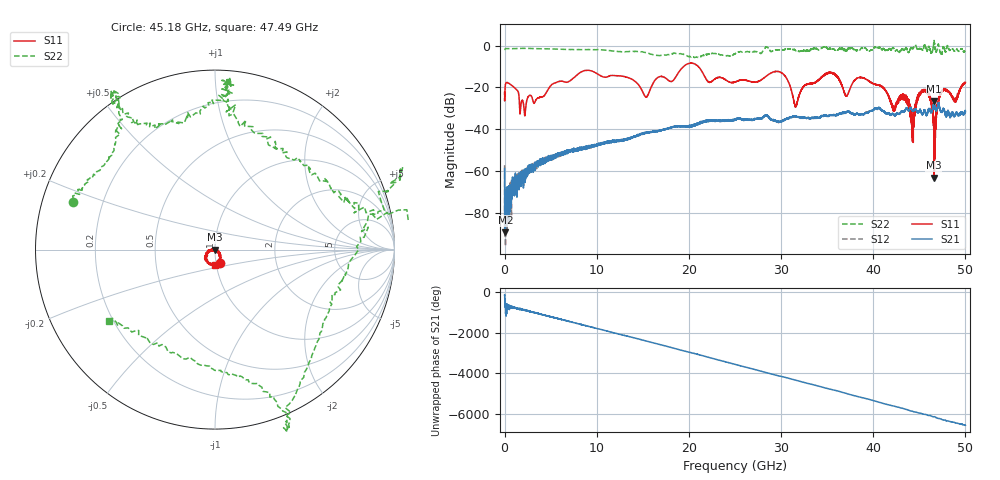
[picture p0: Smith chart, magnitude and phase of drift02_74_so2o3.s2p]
!Created with skrf (http://scikit-rf.org).
# Hz S RI R 50.0
!freq ReS11 ImS11 ReS21 ImS21 ReS12 ImS12 ReS22 ImS22
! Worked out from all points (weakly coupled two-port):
!   10001 points, 300 kHz to 50 GHz, reference 50 ohm
!   highest |S21| = -26.67 dB at 46.61 GHz (marker M1); lowest = -89.0 dB at 90.3 MHz (marker M2)
!   lowest |S11| = -63.0 dB at 46.58 GHz (marker M3), VSWR 1.00, Z = 50 - j0.0611 ohm
!   |S11| at or under -10 dB: start of sweep to 19.42 GHz; 21.01126 GHz to 21.02015 GHz (8.895 MHz wide, 0.0423 % of centre); 21.02 GHz to end of sweep
!   |S22| runs from -5.7 to 2.4 dB; largest |S21 - S12| = 0.003
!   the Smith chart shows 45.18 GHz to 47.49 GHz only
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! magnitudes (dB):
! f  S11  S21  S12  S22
! 300 kHz  -22.3  -58.7  -57.1  -2.1
! 90.3 MHz  -18.5  -89.0  -74.8  -1.5
! 2.185 GHz  -33.6  -62.3  -62.0  -1.3
! 8.335 GHz  -12.5  -48.9  -49.7  -1.9
! 15.34 GHz  -24.5  -41.7  -41.6  -3.3
! 16.67 GHz  -15.1  -40.6  -40.7  -4.7
! 20.3 GHz  -8.4  -38.5  -38.0  -5.5
! 25 GHz  -17.4  -35.3  -35.3  -3.9
! 29.84 GHz  -12.5  -36.5  -36.4  -2.0
! 31.59 GHz  -29.0  -33.6  -33.9  -2.4
! 33.34 GHz  -18.1  -34.7  -34.4  -1.5
! 35.6 GHz  -13.0  -33.3  -33.3  -1.6
! 37.1 GHz  -24.1  -31.6  -31.5  -2.2
! 38.75 GHz  -15.3  -32.7  -32.7  -0.9
! 41.67 GHz  -24.2  -32.3  -32.2  -1.9
! 43.42 GHz  -23.8  -31.5  -31.4  -1.9
! 44.26 GHz  -45.8  -31.0  -31.1  -1.4
! 45.72 GHz  -21.5  -32.5  -32.6  -1.0
! 46.58 GHz  -63.0  -27.2  -27.2  1.9
! 46.61 GHz  -51.0  -26.7  -26.7  2.4
! 47.47 GHz  -21.6  -31.9  -31.9  -3.4
! 50 GHz  -17.6  -31.4  -31.7  -2.8
